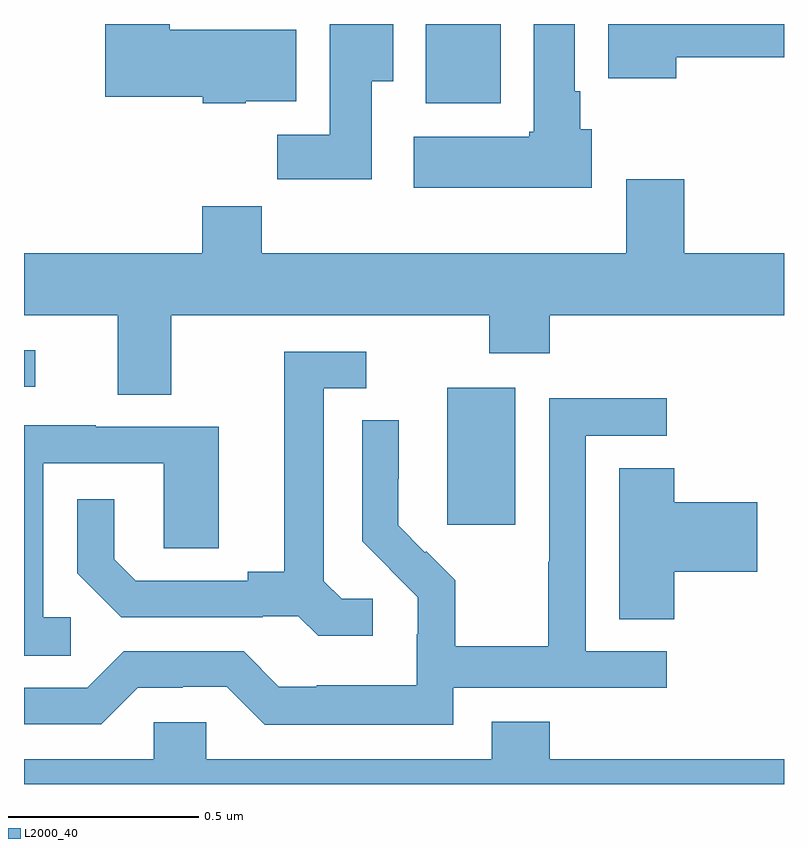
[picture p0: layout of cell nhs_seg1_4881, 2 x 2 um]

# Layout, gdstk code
import gdstk
lib = gdstk.Library(unit=1e-6, precision=1e-09)
def R(c, l, rs):  # rectangles x0, y0, x1, y1
    for r in rs: c.add(gdstk.rectangle(r[:2], r[2:], *l))
def P(c, l, *ps):  # polygons
    for p in ps: c.add(gdstk.Polygon(p, *l))
L2000_40 = (2000, 40)

nhs_seg1_4881 = lib.new_cell('nhs_seg1_4881')
R(nhs_seg1_4881, L2000_40, [(173.114,517.881,173.293,518.242), (172,518.244,172.03,518.34), (173.057,518.99,173.254,519.199)])
P(nhs_seg1_4881, L2000_40, [(173.494,518.922),(173.464,518.922),(173.464,519.022),(173.449,519.022),(173.449,519.199),(173.342,519.199),(173.342,518.916),(173.329,518.916),(173.329,518.902),(173.025,518.902),(173.025,518.768),(173.494,518.768)],
  [(173.716,519.112),(174,519.112),(174,519.199),(173.537,519.199),(173.537,519.056),(173.716,519.056)],
  [(172.915,519.049),(172.972,519.049),(172.972,519.199),(172.805,519.199),(172.805,518.908),(172.666,518.908),(172.666,518.79),(172.915,518.79)],
  [(172.584,518.996),(172.717,518.996),(172.717,519.184),(172.384,519.184),(172.384,519.199),(172.214,519.199),(172.214,519.008),(172.47,519.008),(172.47,518.99),(172.584,518.99)],
  [(173.585,518.791),(173.585,518.596),(172.625,518.596),(172.625,518.72),(172.469,518.72),(172.469,518.596),(172,518.596),(172,518.432),(172.247,518.432),(172.247,518.224),(172.387,518.224),(172.387,518.432),(173.224,518.432),(173.224,518.333),(173.384,518.333),(173.384,518.432),(174,518.432),(174,518.596),(173.738,518.596),(173.738,518.791)],
  [(172.918,517.686),(172.836,517.686),(172.789,517.733),(172.789,518.241),(172.9,518.241),(172.9,518.337),(172.685,518.337),(172.685,517.757),(172.589,517.757),(172.589,517.734),(172.294,517.734),(172.237,517.791),(172.237,517.948),(172.14,517.948),(172.14,517.754),(172.256,517.638),(172.628,517.638),(172.628,517.641),(172.722,517.641),(172.774,517.589),(172.918,517.589)],
  [(173.13,517.452),(173.692,517.452),(173.692,517.548),(173.478,517.548),(173.478,518.115),(173.692,518.115),(173.692,518.214),(173.382,518.214),(173.382,517.784),(173.38,517.784),(173.38,517.561),(173.135,517.561),(173.135,517.735),(173.058,517.812),(173.055,517.809),(172.985,517.88),(172.985,518.002),(172.986,518.002),(172.986,518.156),(172.89,518.156),(172.89,517.838),(172.963,517.765),(172.962,517.764),(173.036,517.69),(173.036,517.593),(173.034,517.593),(173.034,517.459),(172.771,517.459),(172.771,517.455),(172.671,517.455),(172.578,517.548),(172.263,517.548),(172.167,517.452),(172,517.452),(172,517.356),(172.203,517.356),(172.299,517.452),(172.418,517.452),(172.418,517.455),(172.533,517.455),(172.633,517.355),(173.13,517.355)],
  [(172.123,517.638),(172.05,517.638),(172.05,518.043),(172.368,518.043),(172.368,517.819),(172.513,517.819),(172.513,518.139),(172.189,518.139),(172.189,518.143),(172,518.143),(172,517.537),(172.123,517.537)],
  [(173.711,517.757),(173.929,517.757),(173.929,517.94),(173.711,517.94),(173.711,518.03),(173.567,518.03),(173.567,517.633),(173.711,517.633)],
  [(174,517.264),(173.384,517.264),(173.384,517.363),(173.231,517.363),(173.231,517.264),(172.479,517.264),(172.479,517.362),(172.341,517.362),(172.341,517.264),(172,517.264),(172,517.199),(174,517.199)])

lib.write_gds('nhs_seg1_4881.gds')
